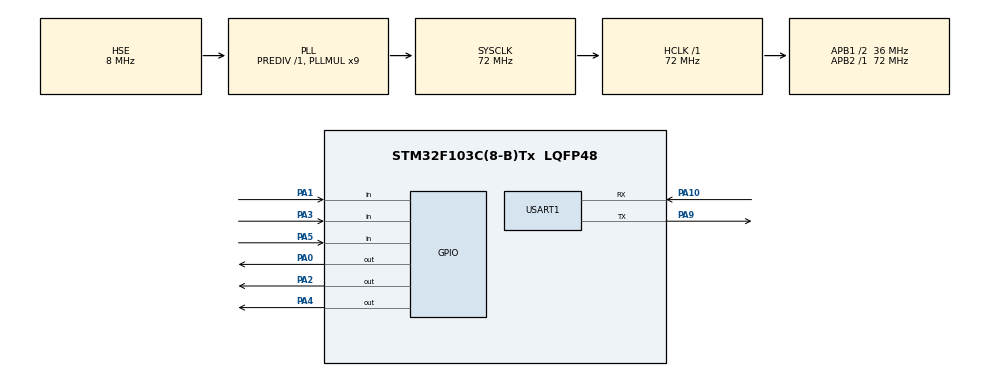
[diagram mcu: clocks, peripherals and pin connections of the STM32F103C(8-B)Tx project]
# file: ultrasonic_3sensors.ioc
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Mcu.Family=STM32F1
Mcu.Name=STM32F103C(8-B)Tx
Mcu.Package=LQFP48
NVIC.PriorityGroup=NVIC_PRIORITYGROUP_4
PA0-WKUP.Signal=GPIO_Output
PA1.Signal=GPIO_Input
PA10.Mode=Asynchronous
PA10.Signal=USART1_RX
PA2.Signal=GPIO_Output
PA3.Signal=GPIO_Input
PA4.Signal=GPIO_Output
PA5.Signal=GPIO_Input
PA9.Mode=Asynchronous
PA9.Signal=USART1_TX
PD0-OSC_IN.Mode=HSE-External-Oscillator
PD0-OSC_IN.Signal=RCC_OSC_IN
PD1-OSC_OUT.Mode=HSE-External-Oscillator
PD1-OSC_OUT.Signal=RCC_OSC_OUT
ProjectManager.HeapSize=0x200
ProjectManager.StackSize=0x400
ProjectManager.TargetToolchain=STM32CubeIDE
RCC.AHBFreq_Value=72000000
RCC.APB1CLKDivider=RCC_HCLK_DIV2
RCC.APB1Freq_Value=36000000
RCC.APB1TimFreq_Value=72000000
RCC.APB2Freq_Value=72000000
RCC.APB2TimFreq_Value=72000000
RCC.HCLKFreq_Value=72000000
RCC.PLLMUL=RCC_PLL_MUL9
RCC.PLLSourceVirtual=RCC_PLLSOURCE_HSE
RCC.SYSCLKFreq_VALUE=72000000
RCC.SYSCLKSource=RCC_SYSCLKSOURCE_PLLCLK
RCC.USBFreq_Value=72000000
TIM2.Prescaler=71
USART1.VirtualMode=VM_ASYNC
VP_SYS_VS_ND.Mode=No_Debug
VP_TIM2_VS_ClockSourceINT.Mode=Internal
board=custom

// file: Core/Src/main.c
/* USER CODE BEGIN Header */
/**
  ******************************************************************************
  * @file           : main.c
  * @brief          : Main program body
  ******************************************************************************
  * @attention
  *
  * Copyright (c) 2026 STMicroelectronics.
  * All rights reserved.
  *
  * This software is licensed under terms that can be found in the LICENSE file
  * in the root directory of this software component.
  * If no LICENSE file comes with this software, it is provided AS-IS.
  *
  ******************************************************************************
  */
/* USER CODE END Header */
#include "main.h"

/* USER CODE BEGIN Includes */
#include <stdio.h>
/* USER CODE END Includes */

TIM_HandleTypeDef htim2;

UART_HandleTypeDef huart1;

void SystemClock_Config(void);
static void MX_GPIO_Init(void);
static void MX_TIM2_Init(void);
static void MX_USART1_UART_Init(void);

/* USER CODE BEGIN 0 */

int __io_putchar(int ch)
{
    HAL_UART_Transmit(&huart1, (uint8_t *)&ch, 1, HAL_MAX_DELAY);
    return ch;
}

void delay_us(uint16_t us)
{
    __HAL_TIM_SET_COUNTER(&htim2, 0);

    while(__HAL_TIM_GET_COUNTER(&htim2) < us);
}

float ultrasonic_read(GPIO_TypeDef *trigPort,
                      uint16_t trigPin,
                      GPIO_TypeDef *echoPort,
                      uint16_t echoPin)
{
    uint32_t start = 0;
    uint32_t stop = 0;
    uint32_t time = 0;
    float distance = 0;

    HAL_GPIO_WritePin(trigPort, trigPin, GPIO_PIN_RESET);
    delay_us(2);

    HAL_GPIO_WritePin(trigPort, trigPin, GPIO_PIN_SET);
    delay_us(10);

    HAL_GPIO_WritePin(trigPort, trigPin, GPIO_PIN_RESET);

    while(HAL_GPIO_ReadPin(echoPort, echoPin) == GPIO_PIN_RESET);

    start = __HAL_TIM_GET_COUNTER(&htim2);

    while(HAL_GPIO_ReadPin(echoPort, echoPin) == GPIO_PIN_SET);

    stop = __HAL_TIM_GET_COUNTER(&htim2);

    if(stop >= start)
        time = stop - start;
    else
        time = (65535 - start) + stop;

    distance = (time * 0.0343f) / 2.0f;

    return distance;
}

/* USER CODE END 0 */

int main(void)
{

  /* USER CODE BEGIN 1 */

	float left_distance;
	float front_distance;
	float right_distance;

  /* USER CODE END 1 */

  /* MCU Configuration--------------------------------------------------------*/

  /* Reset of all peripherals, Initializes the Flash interface and the Systick. */
  HAL_Init();

  /* Configure the system clock */
  SystemClock_Config();

  /* Initialize all configured peripherals */
  MX_GPIO_Init();
  MX_TIM2_Init();
  MX_USART1_UART_Init();
  /* USER CODE BEGIN 2 */
  HAL_TIM_Base_Start(&htim2);
  /* USER CODE END 2 */

  /* Infinite loop */
  /* USER CODE BEGIN WHILE */
  while (1)
  {

	  left_distance =
	          ultrasonic_read(GPIOA, GPIO_PIN_0,
	                          GPIOA, GPIO_PIN_1);

	      HAL_Delay(50);

	      front_distance =
	          ultrasonic_read(GPIOA, GPIO_PIN_2,
	                          GPIOA, GPIO_PIN_3);

	      HAL_Delay(50);

	      right_distance =
	          ultrasonic_read(GPIOA, GPIO_PIN_4,
	                          GPIOA, GPIO_PIN_5);

	      printf("LEFT = %.2f cm | FRONT = %.2f cm | RIGHT = %.2f cm\r\n",
	             left_distance,
	             front_distance,
	             right_distance);

	      HAL_Delay(500);
  }
  /* USER CODE END 3 */
}

void SystemClock_Config(void)
{
  RCC_OscInitTypeDef RCC_OscInitStruct = {0};
  RCC_ClkInitTypeDef RCC_ClkInitStruct = {0};

  /** Initializes the RCC Oscillators according to the specified parameters
  * in the RCC_OscInitTypeDef structure.
  */
  RCC_OscInitStruct.OscillatorType = RCC_OSCILLATORTYPE_HSE;
  RCC_OscInitStruct.HSEState = RCC_HSE_ON;
  RCC_OscInitStruct.HSEPredivValue = RCC_HSE_PREDIV_DIV1;
  RCC_OscInitStruct.HSIState = RCC_HSI_ON;
  RCC_OscInitStruct.PLL.PLLState = RCC_PLL_ON;
  RCC_OscInitStruct.PLL.PLLSource = RCC_PLLSOURCE_HSE;
  RCC_OscInitStruct.PLL.PLLMUL = RCC_PLL_MUL9;
  if (HAL_RCC_OscConfig(&RCC_OscInitStruct) != HAL_OK)
  {
    Error_Handler();
  }

  /** Initializes the CPU, AHB and APB buses clocks
  */
  RCC_ClkInitStruct.ClockType = RCC_CLOCKTYPE_HCLK|RCC_CLOCKTYPE_SYSCLK
                              |RCC_CLOCKTYPE_PCLK1|RCC_CLOCKTYPE_PCLK2;
  RCC_ClkInitStruct.SYSCLKSource = RCC_SYSCLKSOURCE_PLLCLK;
  RCC_ClkInitStruct.AHBCLKDivider = RCC_SYSCLK_DIV1;
  RCC_ClkInitStruct.APB1CLKDivider = RCC_HCLK_DIV2;
  RCC_ClkInitStruct.APB2CLKDivider = RCC_HCLK_DIV1;

  if (HAL_RCC_ClockConfig(&RCC_ClkInitStruct, FLASH_LATENCY_2) != HAL_OK)
  {
    Error_Handler();
  }
}

static void MX_TIM2_Init(void)
{

  TIM_ClockConfigTypeDef sClockSourceConfig = {0};
  TIM_MasterConfigTypeDef sMasterConfig = {0};

  htim2.Instance = TIM2;
  htim2.Init.Prescaler = 71;
  htim2.Init.CounterMode = TIM_COUNTERMODE_UP;
  htim2.Init.Period = 65535;
  htim2.Init.ClockDivision = TIM_CLOCKDIVISION_DIV1;
  htim2.Init.AutoReloadPreload = TIM_AUTORELOAD_PRELOAD_DISABLE;
  if (HAL_TIM_Base_Init(&htim2) != HAL_OK)
  {
    Error_Handler();
  }
  sClockSourceConfig.ClockSource = TIM_CLOCKSOURCE_INTERNAL;
  if (HAL_TIM_ConfigClockSource(&htim2, &sClockSourceConfig) != HAL_OK)
  {
    Error_Handler();
  }
  sMasterConfig.MasterOutputTrigger = TIM_TRGO_RESET;
  sMasterConfig.MasterSlaveMode = TIM_MASTERSLAVEMODE_DISABLE;
  if (HAL_TIMEx_MasterConfigSynchronization(&htim2, &sMasterConfig) != HAL_OK)
  {
    Error_Handler();
  }

}

static void MX_USART1_UART_Init(void)
{

  huart1.Instance = USART1;
  huart1.Init.BaudRate = 115200;
  huart1.Init.WordLength = UART_WORDLENGTH_8B;
  huart1.Init.StopBits = UART_STOPBITS_1;
  huart1.Init.Parity = UART_PARITY_NONE;
  huart1.Init.Mode = UART_MODE_TX_RX;
  huart1.Init.HwFlowCtl = UART_HWCONTROL_NONE;
  huart1.Init.OverSampling = UART_OVERSAMPLING_16;
  if (HAL_UART_Init(&huart1) != HAL_OK)
  {
    Error_Handler();
  }

}

static void MX_GPIO_Init(void)
{
  GPIO_InitTypeDef GPIO_InitStruct = {0};

  /* GPIO Ports Clock Enable */
  __HAL_RCC_GPIOD_CLK_ENABLE();
  __HAL_RCC_GPIOA_CLK_ENABLE();

  /*Configure GPIO pin Output Level */
  HAL_GPIO_WritePin(GPIOA, GPIO_PIN_0|GPIO_PIN_2|GPIO_PIN_4, GPIO_PIN_RESET);

  /*Configure GPIO pins : PA0 PA2 PA4 */
  GPIO_InitStruct.Pin = GPIO_PIN_0|GPIO_PIN_2|GPIO_PIN_4;
  GPIO_InitStruct.Mode = GPIO_MODE_OUTPUT_PP;
  GPIO_InitStruct.Pull = GPIO_NOPULL;
  GPIO_InitStruct.Speed = GPIO_SPEED_FREQ_LOW;
  HAL_GPIO_Init(GPIOA, &GPIO_InitStruct);

  /*Configure GPIO pins : PA1 PA3 PA5 */
  GPIO_InitStruct.Pin = GPIO_PIN_1|GPIO_PIN_3|GPIO_PIN_5;
  GPIO_InitStruct.Mode = GPIO_MODE_INPUT;
  GPIO_InitStruct.Pull = GPIO_NOPULL;
  HAL_GPIO_Init(GPIOA, &GPIO_InitStruct);

}

void Error_Handler(void)
{
  __disable_irq();
  while (1)
  {
  }
}
